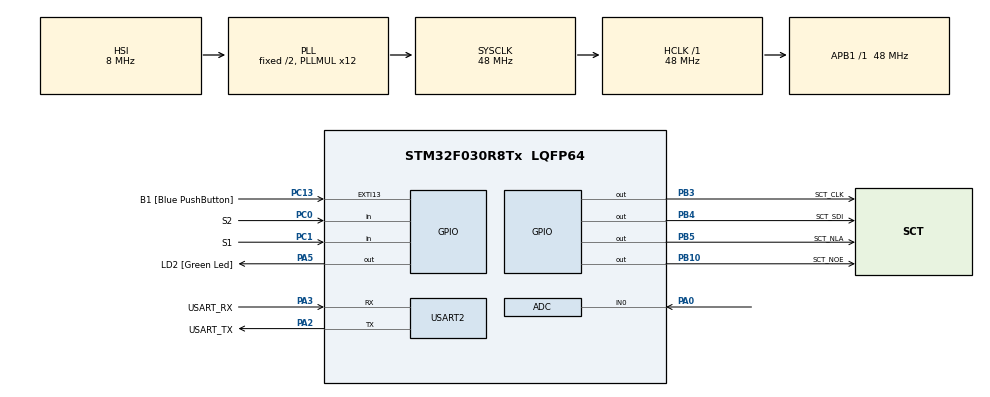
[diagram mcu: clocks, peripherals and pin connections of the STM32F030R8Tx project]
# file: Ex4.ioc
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ADC.ContinuousConvMode=ENABLE
ADC.Overrun=ADC_OVR_DATA_OVERWRITTEN
ADC.SamplingTime=ADC_SAMPLETIME_239CYCLES_5
Mcu.Family=STM32F0
Mcu.Name=STM32F030R8Tx
Mcu.Package=LQFP64
NVIC.ADC1_IRQn=true\:0\:0\:false\:false\:true\:true\:true\:true
PA0.Mode=IN0
PA0.Signal=ADC_IN0
PA13.GPIO_Label=TMS
PA13.Mode=Serial_Wire
PA13.Signal=SYS_SWDIO
PA14.GPIO_Label=TCK
PA14.Mode=Serial_Wire
PA14.Signal=SYS_SWCLK
PA2.GPIO_Label=USART_TX
PA2.GPIO_Mode=GPIO_MODE_AF_PP
PA2.GPIO_PuPd=GPIO_NOPULL
PA2.GPIO_Speed=GPIO_SPEED_FREQ_LOW
PA2.Mode=Asynchronous
PA2.Signal=USART2_TX
PA3.GPIO_Label=USART_RX
PA3.GPIO_Mode=GPIO_MODE_AF_PP
PA3.GPIO_PuPd=GPIO_NOPULL
PA3.GPIO_Speed=GPIO_SPEED_FREQ_LOW
PA3.Mode=Asynchronous
PA3.Signal=USART2_RX
PA5.GPIO_Label=LD2 [Green Led]
PA5.GPIO_Mode=GPIO_MODE_OUTPUT_PP
PA5.GPIO_PuPd=GPIO_NOPULL
PA5.GPIO_Speed=GPIO_SPEED_FREQ_LOW
PA5.Signal=GPIO_Output
PB10.GPIO_Label=SCT_NOE
PB10.Signal=GPIO_Output
PB3.GPIO_Label=SCT_CLK
PB3.Signal=GPIO_Output
PB4.GPIO_Label=SCT_SDI
PB4.Signal=GPIO_Output
PB5.GPIO_Label=SCT_NLA
PB5.Signal=GPIO_Output
PC0.GPIO_Label=S2
PC0.GPIO_PuPd=GPIO_PULLUP
PC0.Signal=GPIO_Input
PC1.GPIO_Label=S1
PC1.GPIO_PuPd=GPIO_PULLUP
PC1.Signal=GPIO_Input
PC13.GPIO_Label=B1 [Blue PushButton]
PC13.GPIO_ModeDefaultEXTI=GPIO_MODE_IT_FALLING
PC13.Signal=GPXTI13
PC14-OSC32_IN.Mode=LSE-External-Oscillator
PC14-OSC32_IN.Signal=RCC_OSC32_IN
PC15-OSC32_OUT.Mode=LSE-External-Oscillator
PC15-OSC32_OUT.Signal=RCC_OSC32_OUT
PF0-OSC_IN.Mode=HSE-External-Clock-Source
PF0-OSC_IN.Signal=RCC_OSC_IN
PF1-OSC_OUT.Signal=RCC_OSC_OUT
ProjectManager.HeapSize=0x200
ProjectManager.StackSize=0x400
ProjectManager.TargetToolchain=STM32CubeIDE
RCC.AHBFreq_Value=48000000
RCC.APB1Freq_Value=48000000
RCC.APB1TimFreq_Value=48000000
RCC.HCLKFreq_Value=48000000
RCC.PLLMUL=RCC_PLL_MUL12
RCC.SYSCLKFreq_VALUE=48000000
RCC.SYSCLKSource=RCC_SYSCLKSOURCE_PLLCLK
USART2.VirtualMode-Asynchronous=VM_ASYNC
VP_ADC_TempSens_Input.Mode=IN-TempSens
VP_ADC_Vref_Input.Mode=IN-Vrefint
board=NUCLEO-F030R8

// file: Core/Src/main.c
/* USER CODE BEGIN Header */
/**
 ******************************************************************************
 * @file           : main.c
 * @brief          : Main program body
 ******************************************************************************
 * @attention
 *
 * Copyright (c) 2023 STMicroelectronics.
 * All rights reserved.
 *
 * This software is licensed under terms that can be found in the LICENSE file
 * in the root directory of this software component.
 * If no LICENSE file comes with this software, it is provided AS-IS.
 *
 ******************************************************************************
 */
/* USER CODE END Header */
#include "main.h"

/* USER CODE BEGIN Includes */
#include "sct.h"
/* USER CODE END Includes */

/* USER CODE BEGIN PD */
#define ADC_Q 12

/* Temperature sensor calibration value address */
#define TEMP110_CAL_ADDR ((uint16_t*) ((uint32_t) 0x1FFFF7C2))
#define TEMP30_CAL_ADDR ((uint16_t*) ((uint32_t) 0x1FFFF7B8))

/* Internal voltage reference calibration value address */
#define VREFINT_CAL_ADDR ((uint16_t*) ((uint32_t) 0x1FFFF7BA))
/* USER CODE END PD */

ADC_HandleTypeDef hadc;

UART_HandleTypeDef huart2;

/* USER CODE BEGIN PV */
static volatile uint32_t raw_pot;
static volatile uint32_t raw_temp;
static volatile uint32_t raw_volt;
static enum { SHOW_POT, SHOW_VOLT, SHOW_TEMP } state = SHOW_POT;
/* USER CODE END PV */

void SystemClock_Config(void);
static void MX_GPIO_Init(void);
static void MX_USART2_UART_Init(void);
static void MX_ADC_Init(void);

/* USER CODE BEGIN 0 */
void HAL_ADC_ConvCpltCallback(ADC_HandleTypeDef* hadc)
{
	static uint8_t channel;

	switch (channel) {
	case 0:
		// Potentiometer Channel
		static uint32_t avg_pot;
		raw_pot = avg_pot >> ADC_Q;
		avg_pot -= raw_pot;
		avg_pot += HAL_ADC_GetValue(hadc);
		break;
	case 1:
		// Temperature Channel
		raw_temp = HAL_ADC_GetValue(hadc);
		break;
	case 2:
		// Reference Voltage Channel
		raw_volt = HAL_ADC_GetValue(hadc);
		break;
	default:
		break;
	}

	if (__HAL_ADC_GET_FLAG(hadc, ADC_FLAG_EOS)) channel = 0;
	else channel++;

}
/* USER CODE END 0 */

int main(void)
{

	/* MCU Configuration--------------------------------------------------------*/

	/* Reset of all peripherals, Initializes the Flash interface and the Systick. */
	HAL_Init();

	/* Configure the system clock */
	SystemClock_Config();

	/* Initialize all configured peripherals */
	MX_GPIO_Init();
	MX_USART2_UART_Init();
	MX_ADC_Init();
	/* USER CODE BEGIN 2 */
	sct_init();
	HAL_ADCEx_Calibration_Start(&hadc);
	HAL_ADC_Start_IT(&hadc);
	/* USER CODE END 2 */

	/* Infinite loop */
	/* USER CODE BEGIN WHILE */
	while (1)
	{
		static uint32_t delay = 1000;
		static uint32_t time_sampl_s1;
		static uint32_t time_sampl_s2;
		static uint32_t off_time;
		static uint16_t debounce = 0xFFFF;
		static uint32_t tick;

		tick = HAL_GetTick();

		if (tick > time_sampl_s1 + 40) {
			time_sampl_s1 = tick;
			debounce = (debounce<<1) + HAL_GPIO_ReadPin(S1_GPIO_Port, S1_Pin);
			if (debounce == 0x7FFF) {
				off_time = tick + delay;
				state = SHOW_TEMP;
			}
		}

		if (tick > time_sampl_s2 + 40) {
			time_sampl_s2 = tick;
			debounce = (debounce<<1) + HAL_GPIO_ReadPin(S2_GPIO_Port, S2_Pin);
			if (debounce == 0x7FFF) {
				off_time = tick + delay;
				state = SHOW_VOLT;
			}
		}

		if (tick > off_time) {
			state = SHOW_POT;
		}

		switch (state) {
		case SHOW_POT:
			sct_value((raw_pot*500.9)/4095, (raw_pot*8.5)/4095);
			break;
		case SHOW_TEMP:
			int32_t temperature = (raw_temp - (int32_t)(*TEMP30_CAL_ADDR));
			temperature = temperature * (int32_t)(110 - 30);
			temperature = temperature / (int32_t)(*TEMP110_CAL_ADDR - *TEMP30_CAL_ADDR);
			temperature = temperature + 30;
			sct_value(temperature, 0);
			break;
		case SHOW_VOLT:
			uint32_t voltage = 330 * (*VREFINT_CAL_ADDR) / raw_volt;
			sct_value(voltage, 0);
			break;
		default:
			break;
		}
		HAL_Delay(10);

	}
}

void SystemClock_Config(void)
{
	RCC_OscInitTypeDef RCC_OscInitStruct = {0};
	RCC_ClkInitTypeDef RCC_ClkInitStruct = {0};

	/** Initializes the RCC Oscillators according to the specified parameters
	 * in the RCC_OscInitTypeDef structure.
	 */
	RCC_OscInitStruct.OscillatorType = RCC_OSCILLATORTYPE_HSI|RCC_OSCILLATORTYPE_HSI14;
	RCC_OscInitStruct.HSIState = RCC_HSI_ON;
	RCC_OscInitStruct.HSI14State = RCC_HSI14_ON;
	RCC_OscInitStruct.HSICalibrationValue = RCC_HSICALIBRATION_DEFAULT;
	RCC_OscInitStruct.HSI14CalibrationValue = 16;
	RCC_OscInitStruct.PLL.PLLState = RCC_PLL_ON;
	RCC_OscInitStruct.PLL.PLLSource = RCC_PLLSOURCE_HSI;
	RCC_OscInitStruct.PLL.PLLMUL = RCC_PLL_MUL12;
	RCC_OscInitStruct.PLL.PREDIV = RCC_PREDIV_DIV1;
	if (HAL_RCC_OscConfig(&RCC_OscInitStruct) != HAL_OK)
	{
		Error_Handler();
	}

	/** Initializes the CPU, AHB and APB buses clocks
	 */
	RCC_ClkInitStruct.ClockType = RCC_CLOCKTYPE_HCLK|RCC_CLOCKTYPE_SYSCLK
			|RCC_CLOCKTYPE_PCLK1;
	RCC_ClkInitStruct.SYSCLKSource = RCC_SYSCLKSOURCE_PLLCLK;
	RCC_ClkInitStruct.AHBCLKDivider = RCC_SYSCLK_DIV1;
	RCC_ClkInitStruct.APB1CLKDivider = RCC_HCLK_DIV1;

	if (HAL_RCC_ClockConfig(&RCC_ClkInitStruct, FLASH_LATENCY_1) != HAL_OK)
	{
		Error_Handler();
	}
}

static void MX_ADC_Init(void)
{

	ADC_ChannelConfTypeDef sConfig = {0};

	/** Configure the global features of the ADC (Clock, Resolution, Data Alignment and number of conversion)
	 */
	hadc.Instance = ADC1;
	hadc.Init.ClockPrescaler = ADC_CLOCK_ASYNC_DIV1;
	hadc.Init.Resolution = ADC_RESOLUTION_12B;
	hadc.Init.DataAlign = ADC_DATAALIGN_RIGHT;
	hadc.Init.ScanConvMode = ADC_SCAN_DIRECTION_FORWARD;
	hadc.Init.EOCSelection = ADC_EOC_SINGLE_CONV;
	hadc.Init.LowPowerAutoWait = DISABLE;
	hadc.Init.LowPowerAutoPowerOff = DISABLE;
	hadc.Init.ContinuousConvMode = ENABLE;
	hadc.Init.DiscontinuousConvMode = DISABLE;
	hadc.Init.ExternalTrigConv = ADC_SOFTWARE_START;
	hadc.Init.ExternalTrigConvEdge = ADC_EXTERNALTRIGCONVEDGE_NONE;
	hadc.Init.DMAContinuousRequests = DISABLE;
	hadc.Init.Overrun = ADC_OVR_DATA_OVERWRITTEN;
	if (HAL_ADC_Init(&hadc) != HAL_OK)
	{
		Error_Handler();
	}

	/** Configure for the selected ADC regular channel to be converted.
	 */
	sConfig.Channel = ADC_CHANNEL_0;
	sConfig.Rank = ADC_RANK_CHANNEL_NUMBER;
	sConfig.SamplingTime = ADC_SAMPLETIME_239CYCLES_5;
	if (HAL_ADC_ConfigChannel(&hadc, &sConfig) != HAL_OK)
	{
		Error_Handler();
	}

	/** Configure for the selected ADC regular channel to be converted.
	 */
	sConfig.Channel = ADC_CHANNEL_TEMPSENSOR;
	if (HAL_ADC_ConfigChannel(&hadc, &sConfig) != HAL_OK)
	{
		Error_Handler();
	}

	/** Configure for the selected ADC regular channel to be converted.
	 */
	sConfig.Channel = ADC_CHANNEL_VREFINT;
	if (HAL_ADC_ConfigChannel(&hadc, &sConfig) != HAL_OK)
	{
		Error_Handler();
	}

}

static void MX_USART2_UART_Init(void)
{

	huart2.Instance = USART2;
	huart2.Init.BaudRate = 38400;
	huart2.Init.WordLength = UART_WORDLENGTH_8B;
	huart2.Init.StopBits = UART_STOPBITS_1;
	huart2.Init.Parity = UART_PARITY_NONE;
	huart2.Init.Mode = UART_MODE_TX_RX;
	huart2.Init.HwFlowCtl = UART_HWCONTROL_NONE;
	huart2.Init.OverSampling = UART_OVERSAMPLING_16;
	huart2.Init.OneBitSampling = UART_ONE_BIT_SAMPLE_DISABLE;
	huart2.AdvancedInit.AdvFeatureInit = UART_ADVFEATURE_NO_INIT;
	if (HAL_UART_Init(&huart2) != HAL_OK)
	{
		Error_Handler();
	}

}

static void MX_GPIO_Init(void)
{
	GPIO_InitTypeDef GPIO_InitStruct = {0};

	/* GPIO Ports Clock Enable */
	__HAL_RCC_GPIOC_CLK_ENABLE();
	__HAL_RCC_GPIOF_CLK_ENABLE();
	__HAL_RCC_GPIOA_CLK_ENABLE();
	__HAL_RCC_GPIOB_CLK_ENABLE();

	/*Configure GPIO pin Output Level */
	HAL_GPIO_WritePin(LD2_GPIO_Port, LD2_Pin, GPIO_PIN_RESET);

	/*Configure GPIO pin Output Level */
	HAL_GPIO_WritePin(GPIOB, SCT_NOE_Pin|SCT_CLK_Pin|SCT_SDI_Pin|SCT_NLA_Pin, GPIO_PIN_RESET);

	/*Configure GPIO pin : B1_Pin */
	GPIO_InitStruct.Pin = B1_Pin;
	GPIO_InitStruct.Mode = GPIO_MODE_IT_FALLING;
	GPIO_InitStruct.Pull = GPIO_NOPULL;
	HAL_GPIO_Init(B1_GPIO_Port, &GPIO_InitStruct);

	/*Configure GPIO pins : S2_Pin S1_Pin */
	GPIO_InitStruct.Pin = S2_Pin|S1_Pin;
	GPIO_InitStruct.Mode = GPIO_MODE_INPUT;
	GPIO_InitStruct.Pull = GPIO_PULLUP;
	HAL_GPIO_Init(GPIOC, &GPIO_InitStruct);

	/*Configure GPIO pin : LD2_Pin */
	GPIO_InitStruct.Pin = LD2_Pin;
	GPIO_InitStruct.Mode = GPIO_MODE_OUTPUT_PP;
	GPIO_InitStruct.Pull = GPIO_NOPULL;
	GPIO_InitStruct.Speed = GPIO_SPEED_FREQ_LOW;
	HAL_GPIO_Init(LD2_GPIO_Port, &GPIO_InitStruct);

	/*Configure GPIO pins : SCT_NOE_Pin SCT_CLK_Pin SCT_SDI_Pin SCT_NLA_Pin */
	GPIO_InitStruct.Pin = SCT_NOE_Pin|SCT_CLK_Pin|SCT_SDI_Pin|SCT_NLA_Pin;
	GPIO_InitStruct.Mode = GPIO_MODE_OUTPUT_PP;
	GPIO_InitStruct.Pull = GPIO_NOPULL;
	GPIO_InitStruct.Speed = GPIO_SPEED_FREQ_LOW;
	HAL_GPIO_Init(GPIOB, &GPIO_InitStruct);

}

void Error_Handler(void)
{
	__disable_irq();
	while (1)
	{
	}
}
